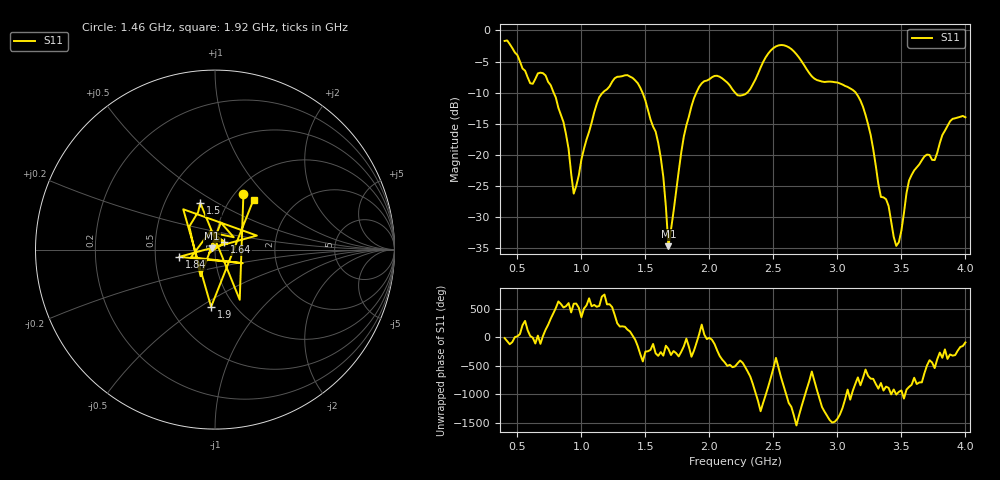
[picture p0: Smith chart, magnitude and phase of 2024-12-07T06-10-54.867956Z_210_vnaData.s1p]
!Created with skrf (http://scikit-rf.org).
# Hz S RI R 50.0
!freq ReS11 ImS11
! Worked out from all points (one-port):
!   181 points, 400 MHz to 4 GHz, reference 50 ohm
!   lowest |S11| = -34.7 dB at 1.68 GHz (marker M1), VSWR 1.04, Z = 48.4 + j0.804 ohm
!   |S11| at or under -10 dB: 783.2 MHz to 1.167 GHz (384.1 MHz wide, 39.4 % of centre); 1.477 GHz to 1.898 GHz (420.8 MHz wide, 24.9 % of centre); 3.143 GHz to end of sweep (the widest 3 of 4)
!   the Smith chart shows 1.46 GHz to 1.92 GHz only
!   S11 on the Smith chart (normalised r, x): 1.46 GHz: 1.10, +0.77; 1.5 GHz: 0.75, +0.42; 1.64 GHz: 1.11, +0.09; 1.84 GHz: 0.67, -0.06; 1.9 GHz: 0.78, -0.56; 1.92 GHz: 1.26, +0.80
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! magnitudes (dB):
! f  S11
! 400 MHz  -1.7
! 600 MHz  -8.5
! 720 MHz  -7.2
! 860 MHz  -14.7
! 940 MHz  -26.2
! 1.14 GHz  -10.7
! 1.3 GHz  -7.4
! 1.46 GHz  -9.2
! 1.5 GHz  -11.3
! 1.64 GHz  -23.5
! 1.68 GHz  -34.7
! 1.76 GHz  -22.7
! 1.84 GHz  -13.8
! 1.9 GHz  -9.9
! 1.92 GHz  -9.1
! 2.06 GHz  -7.3
! 2.2 GHz  -10.0
! 2.3 GHz  -9.9
! 2.5 GHz  -2.8
! 2.66 GHz  -3.4
! 2.82 GHz  -7.7
! 3.1 GHz  -9.3
! 3.22 GHz  -13.6
! 3.34 GHz  -26.7
! 3.4 GHz  -28.2
! 3.46 GHz  -34.6
! 3.56 GHz  -24.1
! 4 GHz  -14.0
